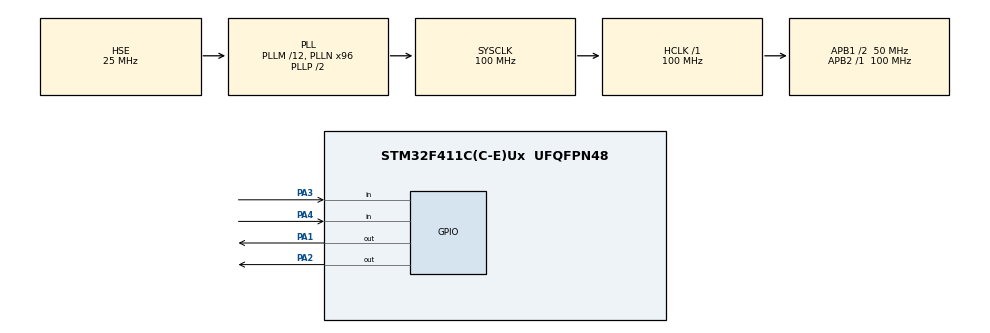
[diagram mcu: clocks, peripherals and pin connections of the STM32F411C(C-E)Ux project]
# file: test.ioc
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Mcu.Family=STM32F4
Mcu.Name=STM32F411C(C-E)Ux
Mcu.Package=UFQFPN48
NVIC.PriorityGroup=NVIC_PRIORITYGROUP_4
PA1.Signal=GPIO_Output
PA13.Mode=Serial_Wire
PA13.Signal=SYS_JTMS-SWDIO
PA14.Mode=Serial_Wire
PA14.Signal=SYS_JTCK-SWCLK
PA2.Signal=GPIO_Output
PA3.Signal=GPIO_Input
PA4.Signal=GPIO_Input
PH0\ -\ OSC_IN.Mode=HSE-External-Oscillator
PH0\ -\ OSC_IN.Signal=RCC_OSC_IN
PH1\ -\ OSC_OUT.Mode=HSE-External-Oscillator
PH1\ -\ OSC_OUT.Signal=RCC_OSC_OUT
ProjectManager.HeapSize=0x200
ProjectManager.StackSize=0x400
ProjectManager.TargetToolchain=STM32CubeIDE
RCC.48MHZClocksFreq_Value=66666666.666666664
RCC.AHBFreq_Value=100000000
RCC.APB1CLKDivider=RCC_HCLK_DIV2
RCC.APB1Freq_Value=50000000
RCC.APB1TimFreq_Value=100000000
RCC.APB2Freq_Value=100000000
RCC.APB2TimFreq_Value=100000000
RCC.CortexFreq_Value=100000000
RCC.HCLKFreq_Value=100000000
RCC.HSE_VALUE=25000000
RCC.HSI_VALUE=16000000
RCC.LSE_VALUE=32768
RCC.PLLM=12
RCC.PLLN=96
RCC.PLLQ=3
RCC.PLLSourceVirtual=RCC_PLLSOURCE_HSE
RCC.SYSCLKFreq_VALUE=100000000
RCC.SYSCLKSource=RCC_SYSCLKSOURCE_PLLCLK
RCC.VCOOutputFreq_Value=200000000
TIM1.Period=2-1
TIM1.Prescaler=100-1
VP_TIM1_VS_ClockSourceINT.Mode=Internal
board=custom

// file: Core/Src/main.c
/* USER CODE BEGIN Header */
/**
 ******************************************************************************
 * @file           : main.c
 * @brief          : Main program body
 ******************************************************************************
 * @attention
 *
 * Copyright (c) 2024 STMicroelectronics.
 * All rights reserved.
 *
 * This software is licensed under terms that can be found in the LICENSE file
 * in the root directory of this software component.
 * If no LICENSE file comes with this software, it is provided AS-IS.
 *
 ******************************************************************************
 */
/* USER CODE END Header */
#include "main.h"

/* USER CODE BEGIN Includes */
#include <stdlib.h>
/* USER CODE END Includes */

TIM_HandleTypeDef htim1;

void SystemClock_Config(void);
static void MX_GPIO_Init(void);
static void MX_TIM1_Init(void);

/* USER CODE BEGIN 0 */
#define DIR_PIN GPIO_PIN_1
#define DIR_PORT GPIOA
#define STEP_PIN GPIO_PIN_2
#define STEP_PORT GPIOA
/*#define LIMIT_SWITCH_START_PORT GPIOA
#define LIMIT_SWITCH_START_PIN GPIO_PIN_1
#define LIMIT_SWITCH_END_PORT GPIOA
#define LIMIT_SWITCH_END_PIN GPIO_PIN_2*/

int stepDelay = 500; // 1000us more delay means less speed
int stepsPerRevolution = 200;
float number_of_laps;
float instant_ul;
float percentage;
float bottom;

float number_of_turn_count = 66;
int syringe_ul = 3000;
int desired_ul=1500;

void microDelay (uint16_t delay)
{
	__HAL_TIM_SET_COUNTER(&htim1, 0);
	while (__HAL_TIM_GET_COUNTER(&htim1) < delay);
}

/*void move_to_limit(GPIO_TypeDef* LIMIT_SWITCH_PORT, uint16_t LIMIT_SWITCH_PIN, GPIO_PinState direction) {
    HAL_GPIO_WritePin(DIR_PORT, DIR_PIN, direction);

    while (HAL_GPIO_ReadPin(LIMIT_SWITCH_PORT, LIMIT_SWITCH_PIN) == GPIO_PIN_RESET) {
        HAL_GPIO_WritePin(STEP_PORT, STEP_PIN, GPIO_PIN_SET);
        microDelay(stepDelay);
        HAL_GPIO_WritePin(STEP_PORT, STEP_PIN, GPIO_PIN_RESET);
        microDelay(stepDelay);
    }
}

void calibrate_motor() {

    move_to_limit(LIMIT_SWITCH_START_PORT, LIMIT_SWITCH_START_PIN, GPIO_PIN_RESET);

    HAL_Delay(500);

    move_to_limit(LIMIT_SWITCH_END_PORT, LIMIT_SWITCH_END_PIN, GPIO_PIN_SET);

    HAL_Delay(500);

    move_to_limit(LIMIT_SWITCH_START_PORT, LIMIT_SWITCH_START_PIN, GPIO_PIN_RESET);
}*/

float limit=0;
int x;

void de_compress(void){

	limit++;

	instant_ul_calculator();

	syringe_laps_calculator(desired_ul);

	transaction_percentage();

	HAL_GPIO_WritePin(DIR_PORT, DIR_PIN, GPIO_PIN_SET);
	for(x=0; x<stepsPerRevolution; x=x+1)
	{
		HAL_GPIO_WritePin(STEP_PORT, STEP_PIN, GPIO_PIN_SET);
		microDelay(stepDelay);
		HAL_GPIO_WritePin(STEP_PORT, STEP_PIN, GPIO_PIN_RESET);
		microDelay(stepDelay);
	}

	if(limit >= number_of_laps){
		exit(0);

		}
	HAL_Delay(1);

}
void compress(void){

	limit++;

	instant_ul_calculator();

	syringe_laps_calculator(desired_ul);

	transaction_percentage();

	HAL_GPIO_WritePin(DIR_PORT, DIR_PIN, GPIO_PIN_RESET);
	for(x=0; x<stepsPerRevolution; x=x+1)
	{
		HAL_GPIO_WritePin(STEP_PORT, STEP_PIN, GPIO_PIN_SET);
		microDelay(stepDelay);
		HAL_GPIO_WritePin(STEP_PORT, STEP_PIN, GPIO_PIN_RESET);
		microDelay(stepDelay);
	}

	if(limit >= number_of_laps){
		exit(0);

		}
	HAL_Delay(1);
}

void transaction_percentage(void){

	percentage = (limit/ number_of_turn_count * 100);

}

void syringe_laps_calculator(int ul){

	bottom = ( syringe_ul / desired_ul);
	number_of_laps = (number_of_turn_count / bottom);

}

void instant_ul_calculator(void){

	instant_ul = limit / number_of_turn_count * syringe_ul;
}

/* USER CODE END 0 */

int main(void)
{

  /* MCU Configuration--------------------------------------------------------*/

  /* Reset of all peripherals, Initializes the Flash interface and the Systick. */
  HAL_Init();

  /* Configure the system clock */
  SystemClock_Config();

  /* Initialize all configured peripherals */
  MX_GPIO_Init();
  MX_TIM1_Init();
  /* USER CODE BEGIN 2 */
  HAL_TIM_Base_Start(&htim1);

  /* USER CODE END 2 */

  /* Infinite loop */
  /* USER CODE BEGIN WHILE */
	 while (1)
	 {
		//de_compress();
		compress();

    /* USER CODE END WHILE */

	 }
}

void SystemClock_Config(void)
{
  RCC_OscInitTypeDef RCC_OscInitStruct = {0};
  RCC_ClkInitTypeDef RCC_ClkInitStruct = {0};

  /** Configure the main internal regulator output voltage
  */
  __HAL_RCC_PWR_CLK_ENABLE();
  __HAL_PWR_VOLTAGESCALING_CONFIG(PWR_REGULATOR_VOLTAGE_SCALE1);

  /** Initializes the RCC Oscillators according to the specified parameters
  * in the RCC_OscInitTypeDef structure.
  */
  RCC_OscInitStruct.OscillatorType = RCC_OSCILLATORTYPE_HSE;
  RCC_OscInitStruct.HSEState = RCC_HSE_ON;
  RCC_OscInitStruct.PLL.PLLState = RCC_PLL_ON;
  RCC_OscInitStruct.PLL.PLLSource = RCC_PLLSOURCE_HSE;
  RCC_OscInitStruct.PLL.PLLM = 12;
  RCC_OscInitStruct.PLL.PLLN = 96;
  RCC_OscInitStruct.PLL.PLLP = RCC_PLLP_DIV2;
  RCC_OscInitStruct.PLL.PLLQ = 3;
  if (HAL_RCC_OscConfig(&RCC_OscInitStruct) != HAL_OK)
  {
    Error_Handler();
  }

  /** Initializes the CPU, AHB and APB buses clocks
  */
  RCC_ClkInitStruct.ClockType = RCC_CLOCKTYPE_HCLK|RCC_CLOCKTYPE_SYSCLK
                              |RCC_CLOCKTYPE_PCLK1|RCC_CLOCKTYPE_PCLK2;
  RCC_ClkInitStruct.SYSCLKSource = RCC_SYSCLKSOURCE_PLLCLK;
  RCC_ClkInitStruct.AHBCLKDivider = RCC_SYSCLK_DIV1;
  RCC_ClkInitStruct.APB1CLKDivider = RCC_HCLK_DIV2;
  RCC_ClkInitStruct.APB2CLKDivider = RCC_HCLK_DIV1;

  if (HAL_RCC_ClockConfig(&RCC_ClkInitStruct, FLASH_LATENCY_3) != HAL_OK)
  {
    Error_Handler();
  }
}

static void MX_TIM1_Init(void)
{

  TIM_ClockConfigTypeDef sClockSourceConfig = {0};
  TIM_MasterConfigTypeDef sMasterConfig = {0};

  htim1.Instance = TIM1;
  htim1.Init.Prescaler = 100-1;
  htim1.Init.CounterMode = TIM_COUNTERMODE_UP;
  htim1.Init.Period = 1001-1;
  htim1.Init.ClockDivision = TIM_CLOCKDIVISION_DIV1;
  htim1.Init.RepetitionCounter = 0;
  htim1.Init.AutoReloadPreload = TIM_AUTORELOAD_PRELOAD_DISABLE;
  if (HAL_TIM_Base_Init(&htim1) != HAL_OK)
  {
    Error_Handler();
  }
  sClockSourceConfig.ClockSource = TIM_CLOCKSOURCE_INTERNAL;
  if (HAL_TIM_ConfigClockSource(&htim1, &sClockSourceConfig) != HAL_OK)
  {
    Error_Handler();
  }
  sMasterConfig.MasterOutputTrigger = TIM_TRGO_RESET;
  sMasterConfig.MasterSlaveMode = TIM_MASTERSLAVEMODE_DISABLE;
  if (HAL_TIMEx_MasterConfigSynchronization(&htim1, &sMasterConfig) != HAL_OK)
  {
    Error_Handler();
  }

}

static void MX_GPIO_Init(void)
{
  GPIO_InitTypeDef GPIO_InitStruct = {0};

  /* GPIO Ports Clock Enable */
  __HAL_RCC_GPIOH_CLK_ENABLE();
  __HAL_RCC_GPIOA_CLK_ENABLE();

  /*Configure GPIO pin Output Level */
  HAL_GPIO_WritePin(GPIOA, GPIO_PIN_1|GPIO_PIN_2, GPIO_PIN_RESET);

  /*Configure GPIO pins : PA1 PA2 */
  GPIO_InitStruct.Pin = GPIO_PIN_1|GPIO_PIN_2;
  GPIO_InitStruct.Mode = GPIO_MODE_OUTPUT_PP;
  GPIO_InitStruct.Pull = GPIO_NOPULL;
  GPIO_InitStruct.Speed = GPIO_SPEED_FREQ_LOW;
  HAL_GPIO_Init(GPIOA, &GPIO_InitStruct);

  /*Configure GPIO pins : PA3 PA4 */
  GPIO_InitStruct.Pin = GPIO_PIN_3|GPIO_PIN_4;
  GPIO_InitStruct.Mode = GPIO_MODE_INPUT;
  GPIO_InitStruct.Pull = GPIO_NOPULL;
  HAL_GPIO_Init(GPIOA, &GPIO_InitStruct);

}

void Error_Handler(void)
{
	 __disable_irq();
	 while (1)
	 {
	 }
}
